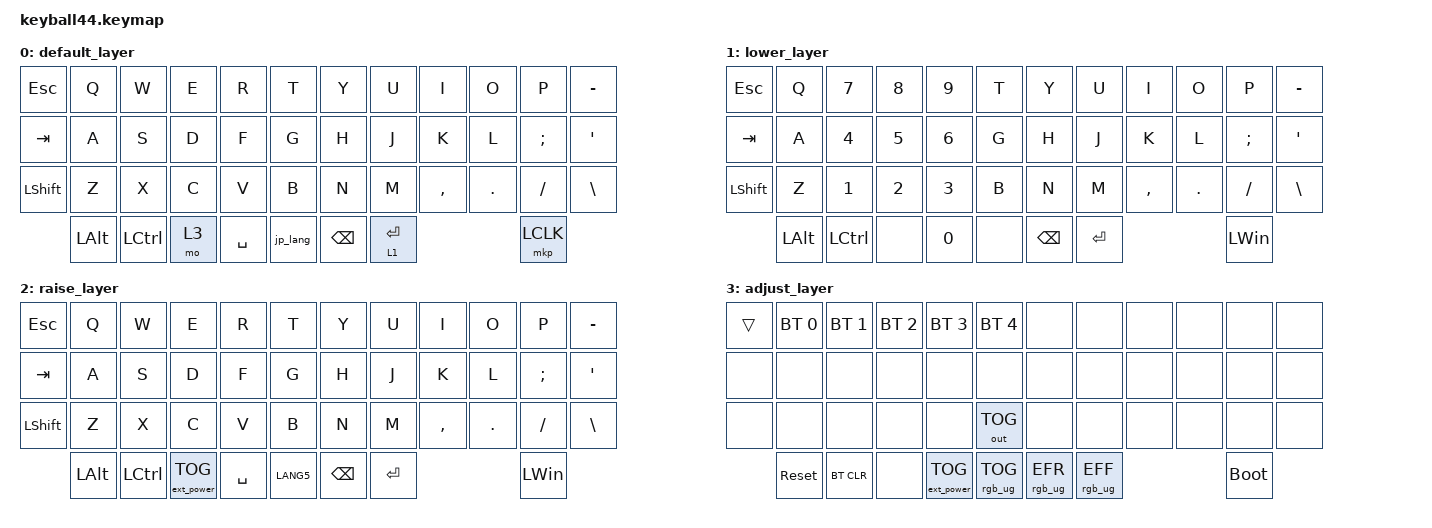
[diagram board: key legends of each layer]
/*
 * Copyright (c) 2020 The ZMK Contributors
 *
 * SPDX-License-Identifier: MIT
 */

#include <behaviors.dtsi>
#include <dt-bindings/zmk/bt.h>
#include <dt-bindings/zmk/ext_power.h>
#include <dt-bindings/zmk/keys.h>
#include <dt-bindings/zmk/outputs.h>
#include <dt-bindings/zmk/rgb.h>
#include <dt-bindings/zmk/mouse.h>

#define DEF 0
#define LWR 1
#define RSE 2
#define ADJ 3

/ {
    macros {
        jp_lang: jp_lang {
            compatible = "zmk,behavior-macro";
            #binding-cells = <0>;
            bindings = <&kp LC(SPACE)>;
            label = "JP_LANG";
        };
    };

    behaviors {
        hold_mo_layer: hold_mo_layer {
            compatible = "zmk,behavior-hold-tap";
            label = "HOLD_MO_LAYER";
            bindings = <&mo>, <&kp>;

            #binding-cells = <2>;
            tapping-term-ms = <200>;
            hold-trigger-key-positions = <42>;
        };
    };

    keymap {
        compatible = "zmk,keymap";

        default_layer {
            bindings = <
&kp ESC    &kp Q     &kp W             &kp E  &kp R      &kp T     &kp Y     &kp U                   &kp I      &kp O       &kp P      &kp MINUS
&kp TAB    &kp A     &kp S             &kp D  &kp F      &kp G     &kp H     &kp J                   &kp K      &kp L       &kp SEMI   &kp SQT
&kp LSHFT  &kp Z     &kp X             &kp C  &kp V      &kp B     &kp N     &kp M                   &kp COMMA  &kp PERIOD  &kp SLASH  &kp BSLH
           &kp LALT  &kp LEFT_CONTROL  &mo 3  &kp SPACE  &jp_lang  &kp BSPC  &hold_mo_layer 1 ENTER                         &mkp LCLK
            >;
        };

        lower_layer {
            bindings = <
&kp ESC    &kp Q     &kp N7        &kp N8  &kp N9        &kp T  &kp Y     &kp U      &kp I      &kp O       &kp P      &kp MINUS
&kp TAB    &kp A     &kp N4        &kp N5  &kp N6        &kp G  &kp H     &kp J      &kp K      &kp L       &kp SEMI   &kp SQT
&kp LSHFT  &kp Z     &kp N1        &kp N2  &kp N3        &kp B  &kp N     &kp M      &kp COMMA  &kp PERIOD  &kp SLASH  &kp BSLH
           &kp LALT  &kp LCTRL     &none   &kp NUMBER_0  &none  &kp BSPC  &kp ENTER                         &kp LWIN
            >;
        }; 

        raise_layer {
            bindings = <
&kp ESC    &kp Q     &kp W      &kp E              &kp R      &kp T      &kp Y     &kp U      &kp I      &kp O       &kp P      &kp MINUS
&kp TAB    &kp A     &kp S      &kp D              &kp F      &kp G      &kp H     &kp J      &kp K      &kp L       &kp SEMI   &kp SQT
&kp LSHFT  &kp Z     &kp X      &kp C              &kp V      &kp B      &kp N     &kp M      &kp COMMA  &kp PERIOD  &kp SLASH  &kp BSLH
           &kp LALT  &kp LCTRL  &ext_power EP_TOG  &kp SPACE  &kp LANG5  &kp BSPC  &kp ENTER                         &kp LWIN
            >;
        };

        adjust_layer {
            bindings = <
&trans  &bt BT_SEL 0  &bt BT_SEL 1  &bt BT_SEL 2  &bt BT_SEL 3       &bt BT_SEL 4     &none            &none            &none  &none  &none        &none
&none   &none         &none         &none         &none              &none            &none            &none            &none  &none  &none        &none
&none   &none         &none         &none         &none              &out OUT_TOG     &none            &none            &none  &none  &none        &none
        &sys_reset    &bt BT_CLR    &none         &ext_power EP_TOG  &rgb_ug RGB_TOG  &rgb_ug RGB_EFR  &rgb_ug RGB_EFF                &bootloader
            >;
        };
    };
};
